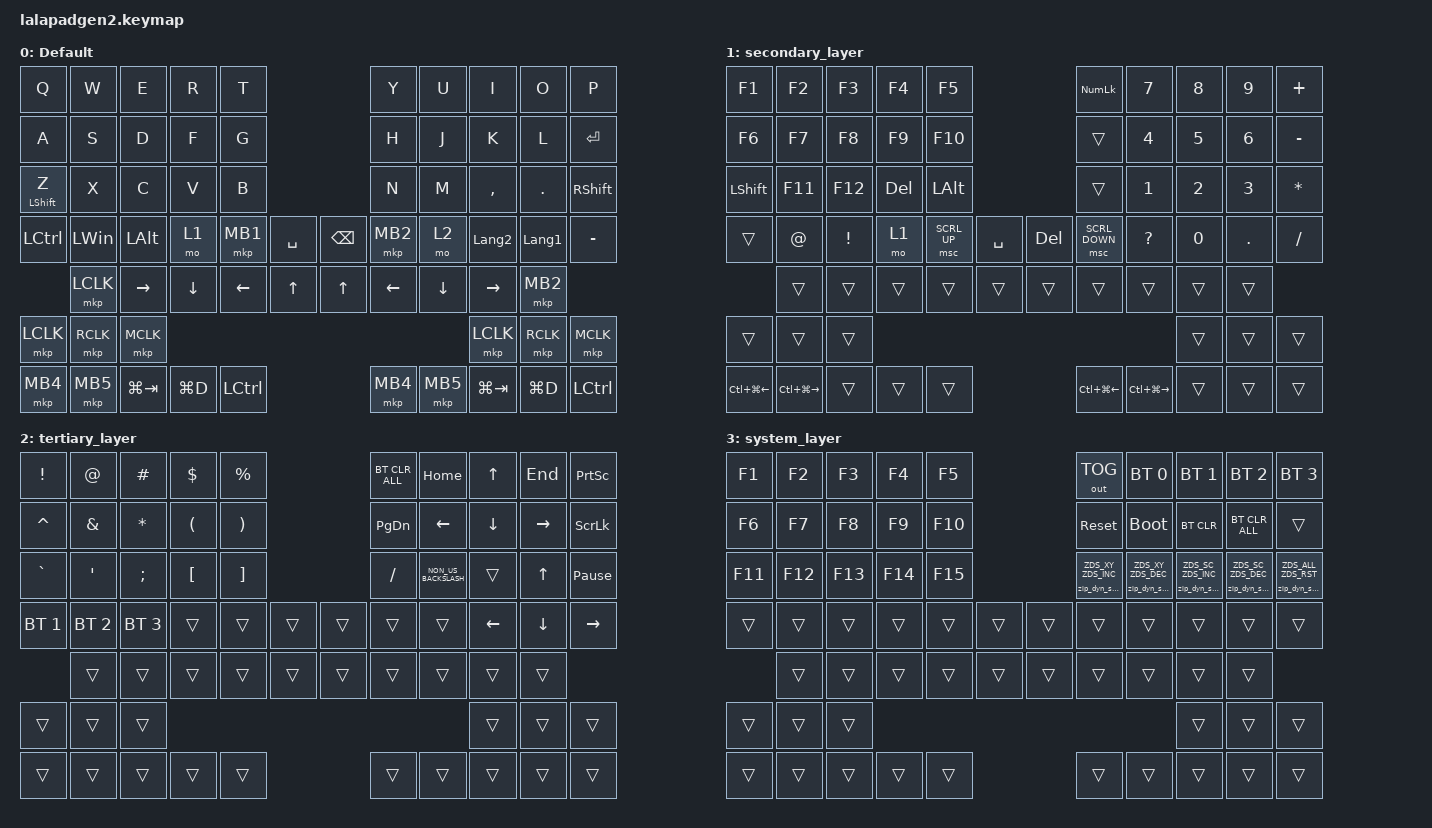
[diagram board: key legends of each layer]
#include <input/processors.dtsi>
#include <dt-bindings/zmk/zip_dynamic_scale.h>
#include <behaviors.dtsi>
#include <dt-bindings/zmk/bt.h>
#include <dt-bindings/zmk/keys.h>
#include <dt-bindings/zmk/outputs.h>
#include <dt-bindings/zmk/pointing.h>

#define DEFAULT_LAYER   0
#define SECONDARY_LAYER 1
#define TERTIARY_LAYER  2
#define SYSTEM_LAYER    3

&mt { quick-tap-ms = <200>; };

&lt { quick-tap-ms = <200>; };

/ {
    behaviors {
        zip_dyn_scale: zip_dyn_scale {
            compatible = "zmk,behavior-zip-dynamic-scale";
            #binding-cells = <2>;
        };

        zip_dyn_scale_set: zip_dyn_scale_set {
            compatible = "zmk,behavior-zip-dynamic-scale-set";
            #binding-cells = <2>;
        };

        mt2: mod_tap2 {
            compatible = "zmk,behavior-hold-tap";
            #binding-cells = <2>;
            flavor = "tap-preferred";
            tapping-term-ms = <200>;
            quick-tap-ms = <200>;
            require-prior-idle-ms = <125>;
            bindings = <&kp>, <&kp>;
        };

        tap_dance_layer_1and2: tap_dance_layer_1and2 {
            compatible = "zmk,behavior-tap-dance";
            label = "td_mo12";
            #binding-cells = <0>;
            bindings = <&mo 1>, <&mo 2>;
        };
    };

    combos {
        compatible = "zmk,combos";

        CONBO_ESC {
            bindings = <&kp ESCAPE>;
            key-positions = <0 1>;
        };

        COMBO_TAB {
            bindings = <&kp TAB>;
            key-positions = <10 11>;
        };
    };

    keymap {
        compatible = "zmk,keymap";

        DEFAULT_LAYER {
            display-name = "Default";
            bindings = <
&kp Q              &kp W      &kp E         &kp R      &kp T                                &kp Y     &kp U     &kp I           &kp O           &kp P
&kp A              &kp S      &kp D         &kp F      &kp G                                &kp H     &kp J     &kp K           &kp L           &kp ENTER
&mt2 LEFT_SHIFT Z  &kp X      &kp C         &kp V      &kp B                                &kp N     &kp M     &kp COMMA       &kp PERIOD      &kp RIGHT_SHIFT
&kp LCTRL          &kp LWIN   &kp LEFT_ALT  &mo 1      &mkp MB1   &kp SPACE  &kp BACKSPACE  &mkp MB2  &mo 2     &kp LANGUAGE_2  &kp LANGUAGE_1  &kp MINUS
                   &mkp LCLK  &kp RIGHT     &kp DOWN   &kp LEFT   &kp UP     &kp UP         &kp LEFT  &kp DOWN  &kp RIGHT       &mkp MB2
&mkp LCLK          &mkp RCLK  &mkp MCLK                                                                         &mkp LCLK       &mkp RCLK       &mkp MCLK
&mkp MB4           &mkp MB5   &kp LG(TAB)   &kp LG(D)  &kp LCTRL                            &mkp MB4  &mkp MB5  &kp LG(TAB)     &kp LG(D)       &kp LCTRL
            >;
        };

        SECONDARY_LAYER {
            display-name = "secondary_layer";
            bindings = <
&kp F1            &kp F2             &kp F3           &kp F4   &kp F5                            &kp KP_NUMLOCK    &kp N7             &kp N8        &kp N9        &kp PLUS
&kp F6            &kp F7             &kp F8           &kp F9   &kp F10                           &trans            &kp NUMBER_4       &kp N5        &kp NUMBER_6  &kp MINUS
&kp LEFT_SHIFT    &kp F11            &kp F12          &kp DEL  &kp LEFT_ALT                      &trans            &kp NUMBER_1       &kp NUMBER_2  &kp NUMBER_3  &kp ASTERISK
&trans            &kp AT_SIGN        &kp EXCLAMATION  &mo 1    &msc SCRL_UP  &kp SPACE  &kp DEL  &msc SCRL_DOWN    &kp QUESTION       &kp N0        &kp PERIOD    &kp SLASH
                  &trans             &trans           &trans   &trans        &trans     &trans   &trans            &trans             &trans        &trans
&trans            &trans             &trans                                                                                           &trans        &trans        &trans
&kp LC(LG(LEFT))  &kp LC(LG(RIGHT))  &trans           &trans   &trans                            &kp LC(LG(LEFT))  &kp LC(LG(RIGHT))  &trans        &trans        &trans
            >;
        };

        TERTIARY_LAYER {
            display-name = "tertiary_layer";
            bindings = <
&kp EXCLAMATION  &kp AT_SIGN    &kp HASH      &kp DOLLAR            &kp PERCENT                            &bt BT_CLR_ALL  &kp HOME              &kp UP_ARROW    &kp END       &kp PRINTSCREEN
&kp CARET        &kp AMPERSAND  &kp ASTERISK  &kp LEFT_PARENTHESIS  &kp RIGHT_PARENTHESIS                  &kp PAGE_DOWN   &kp LEFT              &kp DOWN_ARROW  &kp RIGHT     &kp SCROLLLOCK
&kp GRAVE        &kp SQT        &kp SEMI      &kp LEFT_BRACKET      &kp RIGHT_BRACKET                      &kp SLASH       &kp NON_US_BACKSLASH  &trans          &kp UP_ARROW  &kp PAUSE_BREAK
&bt BT_SEL 1     &bt BT_SEL 2   &bt BT_SEL 3  &trans                &trans                 &trans  &trans  &trans          &trans                &kp LEFT_ARROW  &kp DOWN      &kp RIGHT_ARROW
                 &trans         &trans        &trans                &trans                 &trans  &trans  &trans          &trans                &trans          &trans
&trans           &trans         &trans                                                                                                           &trans          &trans        &trans
&trans           &trans         &trans        &trans                &trans                                 &trans          &trans                &trans          &trans        &trans
            >;
        };

        SYSTEM_LAYER {
            display-name = "system_layer";
            bindings = <
&kp F1   &kp F2   &kp F3   &kp F4   &kp F5                   &out OUT_TOG                   &bt BT_SEL 0                   &bt BT_SEL 1                   &bt BT_SEL 2                   &bt BT_SEL 3
&kp F6   &kp F7   &kp F8   &kp F9   &kp F10                  &sys_reset                     &bootloader                    &bt BT_CLR                     &bt BT_CLR_ALL                 &trans
&kp F11  &kp F12  &kp F13  &kp F14  &kp F15                  &zip_dyn_scale ZDS_XY ZDS_INC  &zip_dyn_scale ZDS_XY ZDS_DEC  &zip_dyn_scale ZDS_SC ZDS_INC  &zip_dyn_scale ZDS_SC ZDS_DEC  &zip_dyn_scale ZDS_ALL ZDS_RST
&trans   &trans   &trans   &trans   &trans   &trans  &trans  &trans                         &trans                         &trans                         &trans                         &trans
         &trans   &trans   &trans   &trans   &trans  &trans  &trans                         &trans                         &trans                         &trans
&trans   &trans   &trans                                                                                                   &trans                         &trans                         &trans
&trans   &trans   &trans   &trans   &trans                   &trans                         &trans                         &trans                         &trans                         &trans
            >;
        };
    };

    conditional_layers {
        compatible = "zmk,conditional-layers";

        Cond_Syslayer {
            if-layers = <1 2>;
            then-layer = <3>;
        };
    };
};
